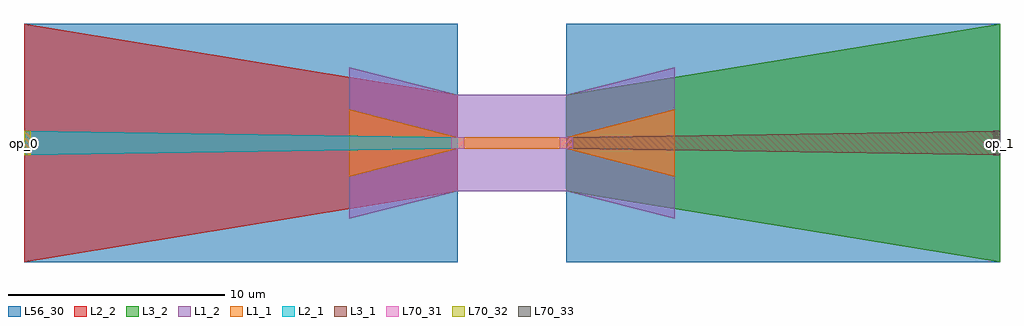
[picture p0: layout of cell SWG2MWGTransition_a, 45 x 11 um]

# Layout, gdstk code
from math import pi, radians
import gdstk
lib = gdstk.Library(unit=1e-6, precision=1e-09)
def R(c, l, rs):  # rectangles x0, y0, x1, y1
    for r in rs: c.add(gdstk.rectangle(r[:2], r[2:], *l))
def P(c, l, *ps):  # polygons
    for p in ps: c.add(gdstk.Polygon(p, *l))
L1_1 = (1, 1)
L1_2 = (1, 2)
L2_1 = (2, 1)
L2_2 = (2, 2)
L3_1 = (3, 1)
L3_2 = (3, 2)
L56_30 = (56, 30)
L70_31 = (70, 31)
L70_32 = (70, 32)
L70_33 = (70, 33)

fwgtransition_x1 = lib.new_cell('FWGTransition_x1')
P(fwgtransition_x1, L1_1, [(0,0.275),(5,1.55),(5,-1.55),(0,-0.275)])
P(fwgtransition_x1, L1_2, [(0,2.225),(5,3.5),(5,1.55),(5,-1.55),(5,-3.5),(0,-2.225),(0,-0.275),(0,0.275)])
P(fwgtransition_x1, L2_1, [(0,0.275),(20,0.575),(20,-0.575),(0,-0.275)])
P(fwgtransition_x1, L2_2, [(0,2.225),(20,5.5),(20,0.575),(20,-0.575),(20,-5.5),(0,-2.225),(0,-0.275),(0,0.275)])
R(fwgtransition_x1, L70_31, [(0,-0.275,0.3,0.275)])
R(fwgtransition_x1, L70_32, [(19.7,-0.575,20,0.575)])
fwgtransition_x1.add(gdstk.Label('op_0', (0,0), layer=70, texttype=41))
fwgtransition_x1.add(gdstk.Label('op_1', (20,0), layer=70, texttype=41))

fwg2swgtransition_swg = lib.new_cell('FWG2SWGTransition_swg')
R(fwg2swgtransition_swg, L56_30, [(0,-5.5,20,5.5)])
P(fwg2swgtransition_swg, L56_30, [(0.2,-4.64),(0.2,-3.452),(1.124,-3.452),(1.124,-3.584),(0.332,-3.584),(0.332,-4.508),(1.124,-4.508),(1.124,-4.64)])
R(fwg2swgtransition_swg, L70_31, [(0,-0.275,0.3,0.275)])
R(fwg2swgtransition_swg, L70_32, [(19.7,-0.575,20,0.575)])
fwg2swgtransition_swg.add(gdstk.Reference(fwgtransition_x1, (0,0)))
fwg2swgtransition_swg.add(gdstk.Label('op_0', (0,0), layer=70, texttype=41))
fwg2swgtransition_swg.add(gdstk.Label('op_1', (20,0), layer=70, texttype=41))

c_wg = lib.new_cell('wg')
R(c_wg, L1_1, [(-2.5,-0.275,2.5,0.275)])
P(c_wg, L1_2, [(-2.5,2.225),(2.5,2.225),(2.5,0.275),(2.5,-0.275),(2.5,-2.225),(-2.5,-2.225),(-2.5,-0.275),(-2.5,0.275)])
R(c_wg, L70_31, [(-2.5,-0.275,-2.2,0.275), (2.2,-0.275,2.5,0.275)])
c_wg.add(gdstk.Label('op_0', (-2.5,0), layer=70, texttype=41))
c_wg.add(gdstk.Label('op_1', (2.5,0), layer=70, texttype=41))

straight_straight = lib.new_cell('Straight_straight')
R(straight_straight, L70_31, [(-2.5,-0.275,-2.2,0.275), (2.2,-0.275,2.5,0.275)])
straight_straight.add(gdstk.Reference(c_wg, (0,0)))
straight_straight.add(gdstk.Label('op_0', (-2.5,0), layer=70, texttype=41))
straight_straight.add(gdstk.Label('op_1', (2.5,0), layer=70, texttype=41))

fwgtransition = lib.new_cell('FWGTransition')
P(fwgtransition, L1_1, [(0,0.275),(5,1.55),(5,-1.55),(0,-0.275)])
P(fwgtransition, L1_2, [(0,2.225),(5,3.5),(5,1.55),(5,-1.55),(5,-3.5),(0,-2.225),(0,-0.275),(0,0.275)])
P(fwgtransition, L3_1, [(0,0.275),(20,0.575),(20,-0.575),(0,-0.275)])
P(fwgtransition, L3_2, [(0,2.225),(20,5.5),(20,0.575),(20,-0.575),(20,-5.5),(0,-2.225),(0,-0.275),(0,0.275)])
R(fwgtransition, L70_31, [(0,-0.275,0.3,0.275)])
R(fwgtransition, L70_33, [(19.7,-0.575,20,0.575)])
fwgtransition.add(gdstk.Label('op_0', (0,0), layer=70, texttype=41))
fwgtransition.add(gdstk.Label('op_1', (20,0), layer=70, texttype=41))

fwg2mwgtransition_mwg = lib.new_cell('FWG2MWGTransition_mwg')
R(fwg2mwgtransition_mwg, L56_30, [(0,-5.5,20,5.5)])
P(fwg2mwgtransition_mwg, L56_30, [(0.2,-4.64),(0.2,-3.452),(1.124,-3.452),(1.124,-3.584),(0.332,-3.584),(0.332,-4.508),(1.124,-4.508),(1.124,-4.64)])
R(fwg2mwgtransition_mwg, L70_31, [(0,-0.275,0.3,0.275)])
R(fwg2mwgtransition_mwg, L70_33, [(19.7,-0.575,20,0.575)])
fwg2mwgtransition_mwg.add(gdstk.Reference(fwgtransition, (0,0)))
fwg2mwgtransition_mwg.add(gdstk.Label('op_0', (0,0), layer=70, texttype=41))
fwg2mwgtransition_mwg.add(gdstk.Label('op_1', (20,0), layer=70, texttype=41))

swg2mwgtransition_a = lib.new_cell('SWG2MWGTransition_a')
R(swg2mwgtransition_a, L70_32, [(-22.5,19.425,-22.2,20.575)])
R(swg2mwgtransition_a, L70_33, [(22.2,19.425,22.5,20.575)])
swg2mwgtransition_a.add(gdstk.Reference(fwg2swgtransition_swg, (-2.5,20), rotation=pi))
swg2mwgtransition_a.add(gdstk.Reference(straight_straight, (0,20)))
swg2mwgtransition_a.add(gdstk.Reference(fwg2mwgtransition_mwg, (2.5,20)))
swg2mwgtransition_a.add(gdstk.Label('op_0', (-22.5,20), layer=70, texttype=41))
swg2mwgtransition_a.add(gdstk.Label('op_1', (22.5,20), layer=70, texttype=41))

lib.write_gds('SWG2MWGTransition_a.gds')
